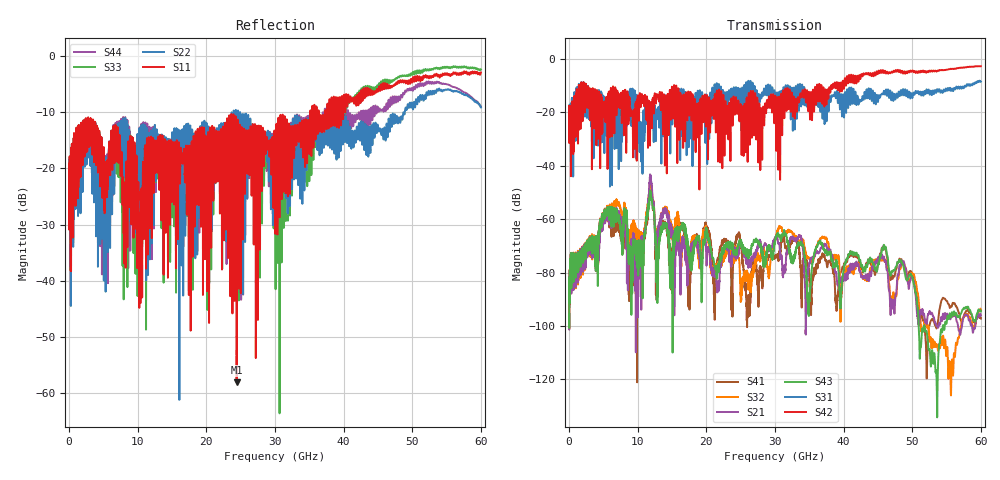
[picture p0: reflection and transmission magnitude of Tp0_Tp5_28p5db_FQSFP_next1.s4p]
!4 port subset of full cascaded channels using these ports:63 37 64 38
# Hz S RI R 50
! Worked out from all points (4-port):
!   6000 points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, 10 MHz to 60 GHz, reference 50 ohm
!   strongest paths, dB at 10 MHz, 15.01 GHz, 30.01 GHz, 45.01 GHz, 60 GHz:
!     S42: -20.0, -10.7, -13.8, -5.2, -2.7
!     S31: -19.9, -20.3, -16.1, -15.9, -8.5
!     S43: -95.5, -74.6, -68.1, -76.6, -94.5
!     S21: -95.8, -66.3, -67.1, -74.3, -96.0
!     S32: -95.6, -66.9, -67.9, -74.5, -93.9
!     S41: -95.8, -80.3, -74.3, -76.2, -97.2
!   lowest |S11| = -58.1 dB at 24.42 GHz (marker M1), VSWR 1.00, Z = 50 + j0.121 ohm
!   |S11| at or under -10 dB: start of sweep to 35.13 GHz; 36.1 GHz to 36.32 GHz (220.1 MHz wide, 0.608 % of centre); 36.39 GHz to 37.3 GHz (910.1 MHz wide, 2.47 % of centre)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
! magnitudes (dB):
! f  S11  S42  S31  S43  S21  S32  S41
! 10 MHz  -21.9  -20.0  -19.9  -95.5  -95.8  -95.6  -95.8
! 5.47 GHz  -19.5  -15.9  -20.0  -58.4  -60.0  -58.1  -60.2
! 10.17 GHz  -29.4  -22.1  -18.8  -69.7  -71.3  -64.1  -75.6
! 11.89 GHz  -15.0  -18.3  -17.9  -51.7  -45.1  -48.8  -48.2
! 14.89 GHz  -15.8  -16.9  -15.2  -73.5  -63.5  -62.1  -73.0
! 24.42 GHz  -58.1  -17.2  -13.5  -72.3  -73.8  -71.6  -66.1
! 60 GHz  -2.9  -2.7  -8.5  -94.5  -96.0  -93.9  -97.2
